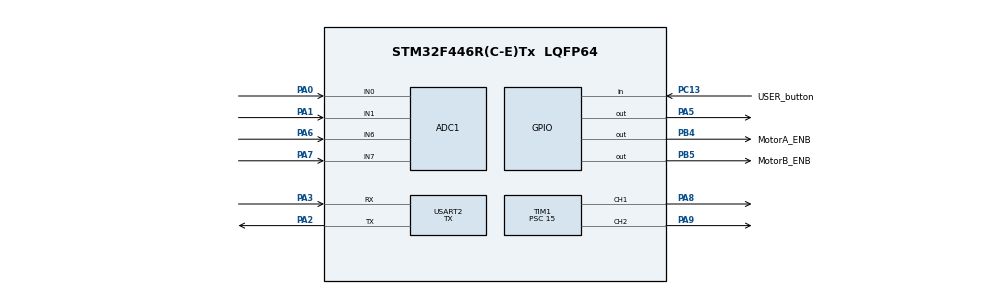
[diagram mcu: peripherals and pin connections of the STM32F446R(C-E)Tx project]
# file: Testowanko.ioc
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ADC1.Channel-15\#ChannelRegularConversion=ADC_CHANNEL_0
ADC1.Channel-16\#ChannelRegularConversion=ADC_CHANNEL_1
ADC1.Channel-17\#ChannelRegularConversion=ADC_CHANNEL_6
ADC1.Channel-18\#ChannelRegularConversion=ADC_CHANNEL_7
ADC1.ClockPrescaler=ADC_CLOCK_SYNC_PCLK_DIV8
ADC1.ContinuousConvMode=ENABLE
ADC1.DMAContinuousRequests=ENABLE
ADC1.InjNumberOfConversion=0
ADC1.NbrOfConversion=4
ADC1.NbrOfConversionFlag=1
ADC1.Rank-15\#ChannelRegularConversion=1
ADC1.Rank-16\#ChannelRegularConversion=2
ADC1.Rank-17\#ChannelRegularConversion=3
ADC1.Rank-18\#ChannelRegularConversion=4
ADC1.SamplingTime-15\#ChannelRegularConversion=ADC_SAMPLETIME_480CYCLES
ADC1.SamplingTime-16\#ChannelRegularConversion=ADC_SAMPLETIME_480CYCLES
ADC1.SamplingTime-17\#ChannelRegularConversion=ADC_SAMPLETIME_3CYCLES
ADC1.SamplingTime-18\#ChannelRegularConversion=ADC_SAMPLETIME_3CYCLES
ADC1.master=1
Dma.ADC1.0.Direction=DMA_PERIPH_TO_MEMORY
Dma.ADC1.0.FIFOMode=DMA_FIFOMODE_DISABLE
Dma.ADC1.0.Instance=DMA2_Stream0
Dma.ADC1.0.MemDataAlignment=DMA_MDATAALIGN_HALFWORD
Dma.ADC1.0.MemInc=DMA_MINC_ENABLE
Dma.ADC1.0.Mode=DMA_CIRCULAR
Dma.ADC1.0.PeriphDataAlignment=DMA_PDATAALIGN_HALFWORD
Dma.ADC1.0.PeriphInc=DMA_PINC_DISABLE
Dma.ADC1.0.Priority=DMA_PRIORITY_HIGH
Dma.Request0=ADC1
Mcu.Family=STM32F4
Mcu.Name=STM32F446R(C-E)Tx
Mcu.Package=LQFP64
NVIC.DMA2_Stream0_IRQn=true\:0\:0\:false\:false\:true\:false\:true
NVIC.PriorityGroup=NVIC_PRIORITYGROUP_4
NVIC.TIM1_CC_IRQn=true\:0\:0\:false\:false\:true\:true\:true
PA0-WKUP.Signal=ADCx_IN0
PA1.Signal=ADCx_IN1
PA2.Mode=Asynchronous
PA2.Signal=USART2_TX
PA3.Mode=Asynchronous
PA3.Signal=USART2_RX
PA5.GPIO_ModeDefaultOutputPP=GPIO_MODE_OUTPUT_PP
PA5.GPIO_PuPd=GPIO_NOPULL
PA5.GPIO_Speed=GPIO_SPEED_FREQ_LOW
PA5.PinState=GPIO_PIN_RESET
PA5.Signal=GPIO_Output
PA6.Signal=ADCx_IN6
PA7.Signal=ADCx_IN7
PA8.Signal=S_TIM1_CH1
PA9.Signal=S_TIM1_CH2
PB4.GPIO_Label=MotorA_ENB
PB4.GPIO_Speed=GPIO_SPEED_FREQ_HIGH
PB4.Signal=GPIO_Output
PB5.GPIO_Label=MotorB_ENB
PB5.GPIO_Speed=GPIO_SPEED_FREQ_HIGH
PB5.Signal=GPIO_Output
PC13.GPIO_Label=USER_button
PC13.GPIO_PuPd=GPIO_PULLUP
PC13.Signal=GPIO_Input
ProjectManager.HeapSize=0x200
ProjectManager.StackSize=0x400
ProjectManager.TargetToolchain=STM32CubeIDE
RCC.CortexFreq_Value=16000000
RCC.USBFreq_Value=96000000
RCC.VCOOutputFreq_Value=192000000
SH.ADCx_IN0.0=ADC1_IN0,IN0
SH.ADCx_IN1.0=ADC1_IN1,IN1
SH.ADCx_IN6.0=ADC1_IN6,IN6
SH.ADCx_IN7.0=ADC1_IN7,IN7
SH.S_TIM1_CH1.0=TIM1_CH1,PWM Generation1 CH1
SH.S_TIM1_CH2.0=TIM1_CH2,PWM Generation2 CH2
TIM1.Channel-PWM\ Generation1\ CH1=TIM_CHANNEL_1
TIM1.Channel-PWM\ Generation2\ CH2=TIM_CHANNEL_2
TIM1.Period=999
TIM1.Prescaler=15
USART2.Mode=MODE_TX
USART2.VirtualMode=VM_ASYNC
VP_TIM1_VS_ClockSourceINT.Mode=Internal
board=custom

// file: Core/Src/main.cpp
/* USER CODE BEGIN Header */
/**
  ******************************************************************************
  * @file           : main.cpp
  * @brief          : Line follower main routine
  * @author         : Dawid Tobor
  ******************************************************************************
  * @attention
  *
  * <h2><center>&copy; Copyright (c) 2020 STMicroelectronics.
  * All rights reserved.</center></h2>
  *
  * This software component is licensed by ST under BSD 3-Clause license,
  * the "License"; You may not use this file except in compliance with the
  * License. You may obtain a copy of the License at:
  *                        opensource.org/licenses/BSD-3-Clause
  *
  ******************************************************************************
  */
/* USER CODE END Header */

#include "main.h"

/* USER CODE BEGIN Includes */
// Include LineFollower main class
#include "lineFollower.h"

// Include standard libraries for some functions needed for UART communication
#include <cstring>
#include <cstdio>
#include <cstdlib>
/* USER CODE END Includes */

ADC_HandleTypeDef hadc1;
DMA_HandleTypeDef hdma_adc1;

TIM_HandleTypeDef htim1;

UART_HandleTypeDef huart2;

void SystemClock_Config(void);
static void MX_GPIO_Init(void);
static void MX_DMA_Init(void);
static void MX_USART2_UART_Init(void);
static void MX_ADC1_Init(void);
static void MX_TIM1_Init(void);

/* USER CODE BEGIN 0 */
// Functions to transfer single char over UART
void send_char(char c) {
  HAL_UART_Transmit(&huart2, (uint8_t*)&c, 1, 10);
}

void UART_send_string(char* str, uint16_t num_of_bytes) {
  HAL_UART_Transmit(&huart2, (uint8_t*)str, num_of_bytes, 10);
}
/* USER CODE END 0 */

int main(void)
{

  /* MCU Configuration--------------------------------------------------------*/

  /* Reset of all peripherals, Initializes the Flash interface and the Systick. */
  HAL_Init();

  /* Configure the system clock */
  SystemClock_Config();

  /* Initialize all configured peripherals */
  MX_GPIO_Init();
  MX_DMA_Init();
  MX_USART2_UART_Init();
  MX_ADC1_Init();
  MX_TIM1_Init();
  /* USER CODE BEGIN 2 */

  LineFollower lineFollower(htim1, 3000, true);
  char versionString[] = "LineFollower v.0.0\r\n";
  char secondString[] = "Motors test\r\n";
  UART_send_string(versionString, sizeof(versionString));
  UART_send_string(secondString, sizeof(secondString));

  // UART variables
  //char UART_buffer[255] = {0};
  //uint16_t num_of_bytes_to_transmit = 0;

  // Start ADC comparisions and send data over DMA
  HAL_DMA_Init(&hdma_adc1);
  HAL_ADC_Start_DMA(&hadc1, (uint32_t*)lineFollower.getVariableForMeasurements(), NUMBER_OF_OPTOCOUPLERS);
  /* USER CODE END 2 */

  /* Infinite loop */
  /* USER CODE BEGIN WHILE */
  bool pressed = false;
  bool toggle = false;

  while (1) {

    if(!HAL_GPIO_ReadPin(GPIOC, GPIO_PIN_13) && !pressed) {
      toggle = !toggle;
      pressed = true;
      HAL_Delay(10);
    }
    else if(HAL_GPIO_ReadPin(GPIOC, GPIO_PIN_13) && pressed) {
      pressed = false;
      HAL_Delay(10);
    }

    if(toggle) {
      lineFollower.run();
    }

    HAL_Delay(1);
  }

  return 0;
  /* USER CODE END 3 */
}

void SystemClock_Config(void)
{
  RCC_OscInitTypeDef RCC_OscInitStruct = {0};
  RCC_ClkInitTypeDef RCC_ClkInitStruct = {0};

  /** Configure the main internal regulator output voltage
  */
  __HAL_RCC_PWR_CLK_ENABLE();
  __HAL_PWR_VOLTAGESCALING_CONFIG(PWR_REGULATOR_VOLTAGE_SCALE3);
  /** Initializes the CPU, AHB and APB busses clocks
  */
  RCC_OscInitStruct.OscillatorType = RCC_OSCILLATORTYPE_HSI;
  RCC_OscInitStruct.HSIState = RCC_HSI_ON;
  RCC_OscInitStruct.HSICalibrationValue = RCC_HSICALIBRATION_DEFAULT;
  RCC_OscInitStruct.PLL.PLLState = RCC_PLL_NONE;
  if (HAL_RCC_OscConfig(&RCC_OscInitStruct) != HAL_OK)
  {
    Error_Handler();
  }
  /** Initializes the CPU, AHB and APB busses clocks
  */
  RCC_ClkInitStruct.ClockType = RCC_CLOCKTYPE_HCLK|RCC_CLOCKTYPE_SYSCLK
                              |RCC_CLOCKTYPE_PCLK1|RCC_CLOCKTYPE_PCLK2;
  RCC_ClkInitStruct.SYSCLKSource = RCC_SYSCLKSOURCE_HSI;
  RCC_ClkInitStruct.AHBCLKDivider = RCC_SYSCLK_DIV1;
  RCC_ClkInitStruct.APB1CLKDivider = RCC_HCLK_DIV1;
  RCC_ClkInitStruct.APB2CLKDivider = RCC_HCLK_DIV1;

  if (HAL_RCC_ClockConfig(&RCC_ClkInitStruct, FLASH_LATENCY_0) != HAL_OK)
  {
    Error_Handler();
  }
}

static void MX_ADC1_Init(void)
{

  ADC_ChannelConfTypeDef sConfig = {0};

  /** Configure the global features of the ADC (Clock, Resolution, Data Alignment and number of conversion)
  */
  hadc1.Instance = ADC1;
  hadc1.Init.ClockPrescaler = ADC_CLOCK_SYNC_PCLK_DIV8;
  hadc1.Init.Resolution = ADC_RESOLUTION_12B;
  hadc1.Init.ScanConvMode = ENABLE;
  hadc1.Init.ContinuousConvMode = ENABLE;
  hadc1.Init.DiscontinuousConvMode = DISABLE;
  hadc1.Init.ExternalTrigConvEdge = ADC_EXTERNALTRIGCONVEDGE_NONE;
  hadc1.Init.ExternalTrigConv = ADC_SOFTWARE_START;
  hadc1.Init.DataAlign = ADC_DATAALIGN_RIGHT;
  hadc1.Init.NbrOfConversion = 4;
  hadc1.Init.DMAContinuousRequests = ENABLE;
  hadc1.Init.EOCSelection = ADC_EOC_SINGLE_CONV;
  if (HAL_ADC_Init(&hadc1) != HAL_OK)
  {
    Error_Handler();
  }
  /** Configure for the selected ADC regular channel its corresponding rank in the sequencer and its sample time.
  */
  sConfig.Channel = ADC_CHANNEL_0;
  sConfig.Rank = 1;
  sConfig.SamplingTime = ADC_SAMPLETIME_480CYCLES;
  if (HAL_ADC_ConfigChannel(&hadc1, &sConfig) != HAL_OK)
  {
    Error_Handler();
  }
  /** Configure for the selected ADC regular channel its corresponding rank in the sequencer and its sample time.
  */
  sConfig.Channel = ADC_CHANNEL_1;
  sConfig.Rank = 2;
  if (HAL_ADC_ConfigChannel(&hadc1, &sConfig) != HAL_OK)
  {
    Error_Handler();
  }
  /** Configure for the selected ADC regular channel its corresponding rank in the sequencer and its sample time.
  */
  sConfig.Channel = ADC_CHANNEL_6;
  sConfig.Rank = 3;
  sConfig.SamplingTime = ADC_SAMPLETIME_3CYCLES;
  if (HAL_ADC_ConfigChannel(&hadc1, &sConfig) != HAL_OK)
  {
    Error_Handler();
  }
  /** Configure for the selected ADC regular channel its corresponding rank in the sequencer and its sample time.
  */
  sConfig.Channel = ADC_CHANNEL_7;
  sConfig.Rank = 4;
  if (HAL_ADC_ConfigChannel(&hadc1, &sConfig) != HAL_OK)
  {
    Error_Handler();
  }

}

static void MX_TIM1_Init(void)
{

  TIM_ClockConfigTypeDef sClockSourceConfig = {0};
  TIM_MasterConfigTypeDef sMasterConfig = {0};
  TIM_OC_InitTypeDef sConfigOC = {0};
  TIM_BreakDeadTimeConfigTypeDef sBreakDeadTimeConfig = {0};

  htim1.Instance = TIM1;
  htim1.Init.Prescaler = 15;
  htim1.Init.CounterMode = TIM_COUNTERMODE_UP;
  htim1.Init.Period = 999;
  htim1.Init.ClockDivision = TIM_CLOCKDIVISION_DIV1;
  htim1.Init.RepetitionCounter = 0;
  htim1.Init.AutoReloadPreload = TIM_AUTORELOAD_PRELOAD_DISABLE;
  if (HAL_TIM_Base_Init(&htim1) != HAL_OK)
  {
    Error_Handler();
  }
  sClockSourceConfig.ClockSource = TIM_CLOCKSOURCE_INTERNAL;
  if (HAL_TIM_ConfigClockSource(&htim1, &sClockSourceConfig) != HAL_OK)
  {
    Error_Handler();
  }
  if (HAL_TIM_PWM_Init(&htim1) != HAL_OK)
  {
    Error_Handler();
  }
  sMasterConfig.MasterOutputTrigger = TIM_TRGO_RESET;
  sMasterConfig.MasterSlaveMode = TIM_MASTERSLAVEMODE_DISABLE;
  if (HAL_TIMEx_MasterConfigSynchronization(&htim1, &sMasterConfig) != HAL_OK)
  {
    Error_Handler();
  }
  sConfigOC.OCMode = TIM_OCMODE_PWM1;
  sConfigOC.Pulse = 0;
  sConfigOC.OCPolarity = TIM_OCPOLARITY_HIGH;
  sConfigOC.OCNPolarity = TIM_OCNPOLARITY_HIGH;
  sConfigOC.OCFastMode = TIM_OCFAST_DISABLE;
  sConfigOC.OCIdleState = TIM_OCIDLESTATE_RESET;
  sConfigOC.OCNIdleState = TIM_OCNIDLESTATE_RESET;
  if (HAL_TIM_PWM_ConfigChannel(&htim1, &sConfigOC, TIM_CHANNEL_1) != HAL_OK)
  {
    Error_Handler();
  }
  if (HAL_TIM_PWM_ConfigChannel(&htim1, &sConfigOC, TIM_CHANNEL_2) != HAL_OK)
  {
    Error_Handler();
  }
  sBreakDeadTimeConfig.OffStateRunMode = TIM_OSSR_DISABLE;
  sBreakDeadTimeConfig.OffStateIDLEMode = TIM_OSSI_DISABLE;
  sBreakDeadTimeConfig.LockLevel = TIM_LOCKLEVEL_OFF;
  sBreakDeadTimeConfig.DeadTime = 0;
  sBreakDeadTimeConfig.BreakState = TIM_BREAK_DISABLE;
  sBreakDeadTimeConfig.BreakPolarity = TIM_BREAKPOLARITY_HIGH;
  sBreakDeadTimeConfig.AutomaticOutput = TIM_AUTOMATICOUTPUT_DISABLE;
  if (HAL_TIMEx_ConfigBreakDeadTime(&htim1, &sBreakDeadTimeConfig) != HAL_OK)
  {
    Error_Handler();
  }
  HAL_TIM_MspPostInit(&htim1);

}

static void MX_USART2_UART_Init(void)
{

  huart2.Instance = USART2;
  huart2.Init.BaudRate = 115200;
  huart2.Init.WordLength = UART_WORDLENGTH_8B;
  huart2.Init.StopBits = UART_STOPBITS_1;
  huart2.Init.Parity = UART_PARITY_NONE;
  huart2.Init.Mode = UART_MODE_TX;
  huart2.Init.HwFlowCtl = UART_HWCONTROL_NONE;
  huart2.Init.OverSampling = UART_OVERSAMPLING_16;
  if (HAL_UART_Init(&huart2) != HAL_OK)
  {
    Error_Handler();
  }

}

static void MX_DMA_Init(void)
{

  /* DMA controller clock enable */
  __HAL_RCC_DMA2_CLK_ENABLE();

  /* DMA interrupt init */
  /* DMA2_Stream0_IRQn interrupt configuration */
  HAL_NVIC_SetPriority(DMA2_Stream0_IRQn, 0, 0);
  HAL_NVIC_EnableIRQ(DMA2_Stream0_IRQn);

}

static void MX_GPIO_Init(void)
{
  GPIO_InitTypeDef GPIO_InitStruct = {0};

  /* GPIO Ports Clock Enable */
  __HAL_RCC_GPIOC_CLK_ENABLE();
  __HAL_RCC_GPIOA_CLK_ENABLE();
  __HAL_RCC_GPIOB_CLK_ENABLE();

  /*Configure GPIO pin Output Level */
  HAL_GPIO_WritePin(GPIOA, GPIO_PIN_5, GPIO_PIN_RESET);

  /*Configure GPIO pin Output Level */
  HAL_GPIO_WritePin(GPIOB, MotorA_ENB_Pin|MotorB_ENB_Pin, GPIO_PIN_RESET);

  /*Configure GPIO pin : USER_button_Pin */
  GPIO_InitStruct.Pin = USER_button_Pin;
  GPIO_InitStruct.Mode = GPIO_MODE_INPUT;
  GPIO_InitStruct.Pull = GPIO_PULLUP;
  HAL_GPIO_Init(USER_button_GPIO_Port, &GPIO_InitStruct);

  /*Configure GPIO pin : PA5 */
  GPIO_InitStruct.Pin = GPIO_PIN_5;
  GPIO_InitStruct.Mode = GPIO_MODE_OUTPUT_PP;
  GPIO_InitStruct.Pull = GPIO_NOPULL;
  GPIO_InitStruct.Speed = GPIO_SPEED_FREQ_LOW;
  HAL_GPIO_Init(GPIOA, &GPIO_InitStruct);

  /*Configure GPIO pins : MotorA_ENB_Pin MotorB_ENB_Pin */
  GPIO_InitStruct.Pin = MotorA_ENB_Pin|MotorB_ENB_Pin;
  GPIO_InitStruct.Mode = GPIO_MODE_OUTPUT_PP;
  GPIO_InitStruct.Pull = GPIO_NOPULL;
  GPIO_InitStruct.Speed = GPIO_SPEED_FREQ_HIGH;
  HAL_GPIO_Init(GPIOB, &GPIO_InitStruct);

}

void Error_Handler(void)
{
}

/************************ (C) COPYRIGHT STMicroelectronics *****END OF FILE****/
